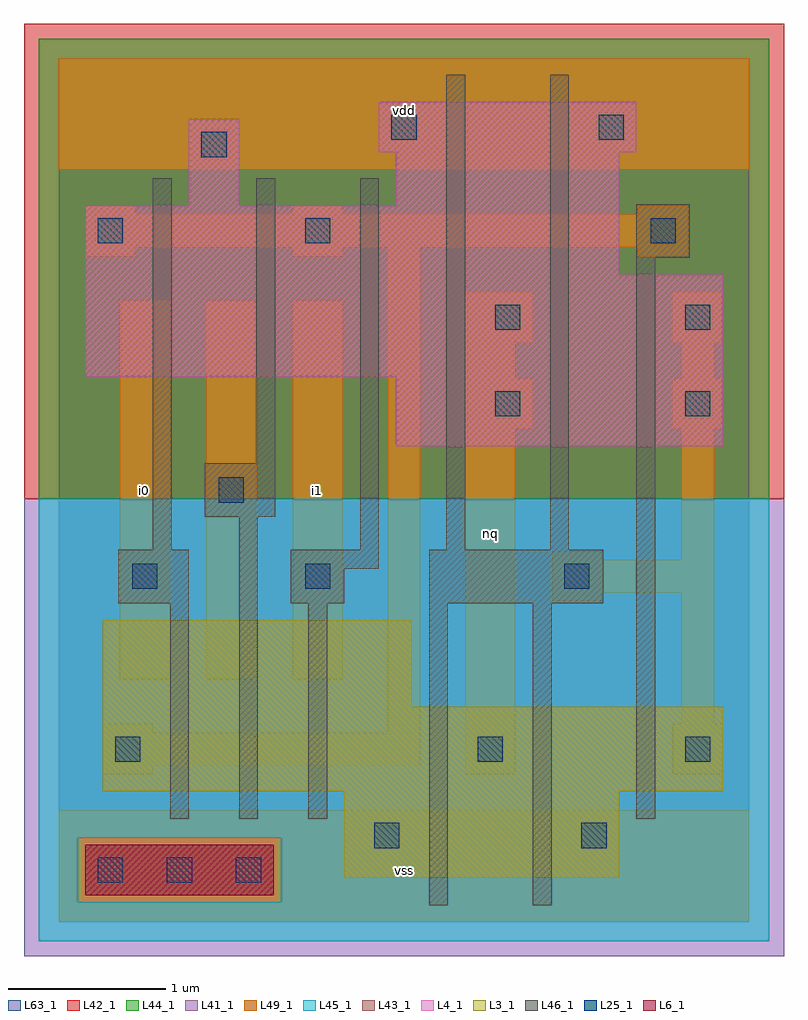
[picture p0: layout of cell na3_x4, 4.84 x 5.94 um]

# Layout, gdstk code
import gdstk
lib = gdstk.Library(unit=1e-6, precision=1e-09)
def R(c, l, rs):  # rectangles x0, y0, x1, y1
    for r in rs: c.add(gdstk.rectangle(r[:2], r[2:], *l))
def A(c, l, x, y, w, h, nx, ny, dx, dy):  # array of equal rectangles
    R(c, l, [(x+i*dx, y+j*dy, x+i*dx+w, y+j*dy+h) for i in range(nx) for j in range(ny)])
L3_1 = (3, 1)
L4_1 = (4, 1)
L6_1 = (6, 1)
L25_1 = (25, 1)
L41_1 = (41, 1)
L42_1 = (42, 1)
L43_1 = (43, 1)
L44_1 = (44, 1)
L45_1 = (45, 1)
L46_1 = (46, 1)
L49_1 = (49, 1)
L63_1 = (63, 1)

na3_x4 = lib.new_cell('na3_x4')
R(na3_x4, L3_1, [(1.82,0.28,3.57,0.83), (0.28,0.83,4.23,1.37), (0.28,1.37,2.25,1.92)])
R(na3_x4, L4_1, [(2.15,3.03,4.23,3.47), (0.17,3.47,4.23,4.12), (0.17,4.12,3.57,4.56), (0.83,4.56,1.15,5.11), (2.15,4.56,3.57,4.9), (2.04,4.9,3.68,5.22)])
R(na3_x4, L6_1, [(0.17,0.17,1.37,0.49)])
A(na3_x4, L25_1, 0.25, 0.25, 0.16, 0.16, 3, 1, 0.44, 0)
R(na3_x4, L25_1, [(2.01,0.47,2.17,0.63), (3.33,0.47,3.49,0.63), (0.36,1.02,0.52,1.18), (2.67,1.02,2.83,1.18), (3.99,1.02,4.15,1.18), (0.47,2.12,0.63,2.28), (1.57,2.12,1.73,2.28), (3.22,2.12,3.38,2.28), (1.02,2.67,1.18,2.83), (2.78,3.22,2.94,3.38), (3.99,3.22,4.15,3.38), (2.78,3.77,2.94,3.93), (3.99,3.77,4.15,3.93), (0.25,4.32,0.41,4.48), (1.57,4.32,1.73,4.48), (3.77,4.32,3.93,4.48), (0.91,4.87,1.07,5.03), (2.12,4.98,2.28,5.14), (3.44,4.98,3.6,5.14)])
R(na3_x4, L41_1, [(-0.22,-0.22,4.62,2.695)])
R(na3_x4, L42_1, [(-0.22,2.695,4.62,5.72)])
R(na3_x4, L43_1, [(0.17,0.17,1.37,0.49), (1.82,0.28,3.57,0.83), (0.28,0.83,4.23,1.37), (0.28,1.37,2.25,1.92), (2.15,3.03,4.23,3.47), (0.17,3.47,4.23,4.12), (0.17,4.12,3.57,4.56), (0.83,4.56,1.15,5.11), (2.15,4.56,3.57,4.9), (2.04,4.9,3.68,5.22)])
R(na3_x4, L44_1, [(0.125,0.125,1.415,0.535), (-0.125,2.695,4.525,5.625)])
R(na3_x4, L45_1, [(-0.125,-0.125,4.525,0.125), (-0.125,0.125,0.125,0.535), (1.415,0.125,4.525,0.535), (-0.125,0.535,4.525,2.695)])
R(na3_x4, L46_1, [(2.36,0.105,2.48,2.03), (3.02,0.105,3.14,2.03), (0.71,0.655,0.83,2.03), (1.15,0.655,1.27,2.58), (1.59,0.655,1.71,2.03), (3.68,0.655,3.8,4.23), (0.38,2.03,0.83,2.37), (1.48,2.03,1.82,2.25), (2.36,2.03,3.47,2.37), (1.48,2.25,2.04,2.37), (0.6,2.37,0.72,4.735), (1.92,2.37,2.04,4.735), (2.47,2.37,2.59,5.395), (3.13,2.37,3.25,5.395), (0.93,2.58,1.38,2.92), (1.26,2.92,1.38,4.735), (3.68,4.23,4.02,4.57)])
A(na3_x4, L49_1, 0.39, 1.545, 0.32, 2.41, 3, 1, 0.55, 0)
R(na3_x4, L49_1, [(0,0,4.4,0.71), (0.28,0.94,0.6,0.995), (2.59,0.94,2.91,3.14), (3.91,0.94,4.23,1.26), (0.28,0.995,2.305,1.205), (0.28,1.205,0.6,1.26), (2.095,1.205,2.305,4.295), (3.965,1.26,4.175,2.095), (3.14,2.04,3.46,2.095), (3.14,2.095,4.175,2.305), (3.14,2.305,3.46,2.36), (3.965,2.305,4.175,3.14), (2.59,3.14,3.02,3.46), (3.91,3.14,4.23,3.46), (2.59,3.46,2.91,3.69), (3.965,3.46,4.175,3.69), (2.59,3.69,3.02,4.01), (3.91,3.69,4.23,4.01), (0.17,4.24,0.49,4.295), (1.49,4.24,1.81,4.295), (3.69,4.24,4.01,4.295), (0.17,4.295,4.01,4.505), (0.17,4.505,0.49,4.56), (1.49,4.505,1.81,4.56), (3.69,4.505,4.01,4.56), (0,4.79,4.4,5.5)])
R(na3_x4, L63_1, [(0,0,4.4,5.5)])
na3_x4.add(gdstk.Label('i0', (0.55,2.75), layer=49, texttype=1))
na3_x4.add(gdstk.Label('i0', (0.55,2.75), layer=49, texttype=1))
na3_x4.add(gdstk.Label('i1', (1.65,2.75), layer=49, texttype=1))
na3_x4.add(gdstk.Label('i1', (1.65,2.75), layer=49, texttype=1))
na3_x4.add(gdstk.Label('vss', (2.2,0.33), layer=49, texttype=1))
na3_x4.add(gdstk.Label('vss', (2.2,0.33), layer=49, texttype=1))
na3_x4.add(gdstk.Label('nq', (2.75,2.475), layer=49, texttype=1))
na3_x4.add(gdstk.Label('nq', (2.75,2.475), layer=49, texttype=1))
na3_x4.add(gdstk.Label('vdd', (2.2,5.17), layer=49, texttype=1))
na3_x4.add(gdstk.Label('vdd', (2.2,5.17), layer=49, texttype=1))

lib.write_gds('na3_x4.gds')
